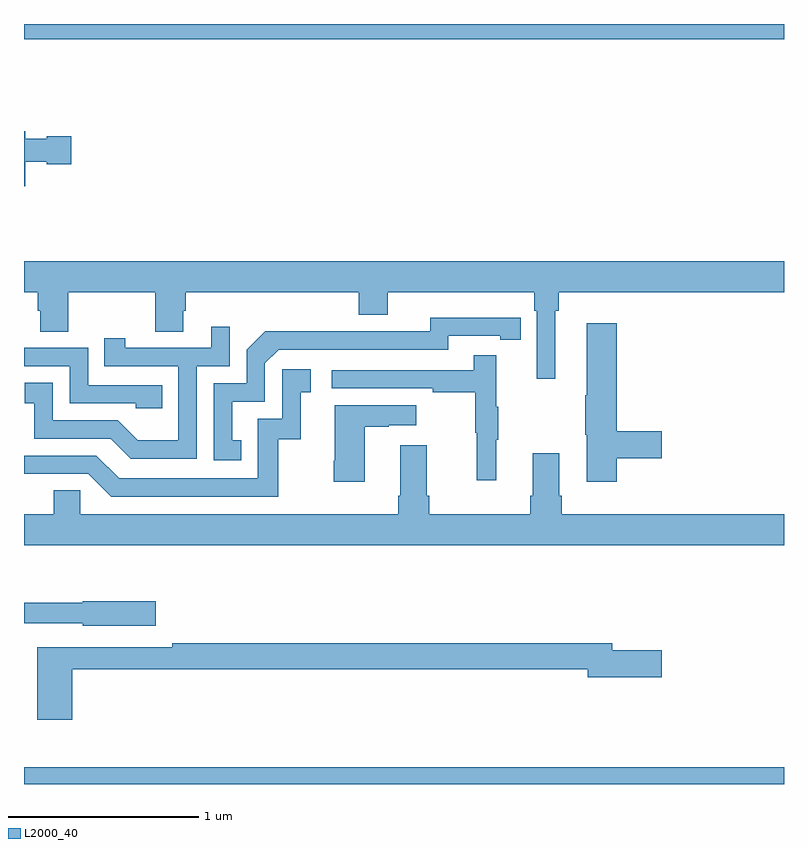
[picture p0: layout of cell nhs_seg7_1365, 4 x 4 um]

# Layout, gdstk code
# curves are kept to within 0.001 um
import gdstk
lib = gdstk.Library(unit=1e-6, precision=1e-09)
def R(c, l, rs):  # rectangles x0, y0, x1, y1
    for r in rs: c.add(gdstk.rectangle(r[:2], r[2:], *l))
def P(c, l, *ps):  # polygons
    for p in ps: c.add(gdstk.Polygon(p, *l))
L2000_40 = (2000, 40)

nhs_seg7_1365 = lib.new_cell('nhs_seg7_1365')
R(nhs_seg7_1365, L2000_40, [(205,1026,209,1026.088), (205,1029.92,209,1030)])
P(nhs_seg7_1365, L2000_40, [(205.006,1029.275),(205.119,1029.275),(205.119,1029.263),(205.249,1029.263),(205.249,1029.41),(205.119,1029.41),(205.119,1029.397),(205.006,1029.397),(205.006,1029.436),(205,1029.436),(205,1029.146),(205.006,1029.146)],
  [(207.796,1028.492),(207.815,1028.492),(207.815,1028.588),(209,1028.588),(209,1028.752),(205,1028.752),(205,1028.588),(205.073,1028.588),(205.073,1028.49),(205.085,1028.49),(205.085,1028.38),(205.233,1028.38),(205.233,1028.588),(205.69,1028.588),(205.69,1028.38),(205.837,1028.38),(205.837,1028.49),(205.85,1028.49),(205.85,1028.588),(206.762,1028.588),(206.762,1028.471),(206.914,1028.471),(206.914,1028.588),(207.686,1028.588),(207.686,1028.492),(207.699,1028.492),(207.699,1028.132),(207.796,1028.132)],
  [(206.144,1027.809),(206.095,1027.809),(206.095,1028.013),(206.268,1028.013),(206.268,1028.214),(206.34,1028.286),(207.234,1028.286),(207.234,1028.358),(207.506,1028.358),(207.506,1028.338),(207.614,1028.338),(207.614,1028.454),(207.138,1028.455),(207.138,1028.382),(206.678,1028.382),(206.678,1028.384),(206.27,1028.384),(206.172,1028.286),(206.172,1028.109),(205.998,1028.109),(205.998,1027.704),(206.144,1027.704)],
  [(208.121,1027.714),(208.357,1027.714),(208.357,1027.856),(208.121,1027.856),(208.121,1028.425),(207.962,1028.425),(207.962,1028.045),(207.955,1028.045),(207.955,1027.839),(207.962,1027.839),(207.962,1027.59),(208.121,1027.59)],
  [(205.908,1028.199),(206.082,1028.199),(206.082,1028.407),(205.985,1028.407),(205.985,1028.295),(205.534,1028.295),(205.534,1028.347),(205.423,1028.347),(205.423,1028.199),(205.812,1028.199),(205.812,1027.81),(205.598,1027.81),(205.494,1027.914),(205.152,1027.914),(205.152,1028.113),(205.005,1028.113),(205.005,1028.003),(205.054,1028.003),(205.054,1027.818),(205.457,1027.818),(205.562,1027.713),(205.908,1027.713)],
  [(205.727,1028.1),(205.338,1028.1),(205.338,1028.295),(205,1028.295),(205,1028.199),(205.242,1028.199),(205.242,1028.004),(205.587,1028.004),(205.587,1027.977),(205.727,1027.977)],
  [(207.485,1027.811),(207.496,1027.811),(207.496,1027.985),(207.485,1027.985),(207.485,1028.257),(207.367,1028.257),(207.367,1028.178),(206.619,1028.178),(206.619,1028.082),(207.151,1028.082),(207.151,1028.062),(207.375,1028.062),(207.375,1027.848),(207.382,1027.848),(207.382,1027.599),(207.485,1027.599)],
  [(206.338,1027.815),(206.456,1027.815),(206.456,1028.061),(206.509,1028.061),(206.509,1028.182),(206.358,1028.182),(206.358,1027.923),(206.229,1027.923),(206.229,1027.608),(205.5,1027.608),(205.38,1027.728),(205,1027.728),(205,1027.632),(205.338,1027.632),(205.458,1027.512),(206.338,1027.512)],
  [(206.794,1027.879),(206.921,1027.879),(206.921,1027.889),(207.064,1027.889),(207.064,1027.993),(206.636,1027.993),(206.636,1027.702),(206.629,1027.702),(206.629,1027.59),(206.794,1027.59)],
  [(209,1027.42),(207.83,1027.42),(207.83,1027.516),(207.817,1027.516),(207.817,1027.741),(207.677,1027.741),(207.677,1027.516),(207.665,1027.516),(207.665,1027.42),(207.134,1027.42),(207.134,1027.516),(207.121,1027.516),(207.121,1027.783),(206.981,1027.783),(206.981,1027.516),(206.969,1027.516),(206.969,1027.42),(205.296,1027.42),(205.296,1027.547),(205.157,1027.547),(205.157,1027.42),(205,1027.42),(205,1027.256),(209,1027.256)],
  [(205.693,1026.963),(205.308,1026.963),(205.308,1026.955),(205,1026.955),(205,1026.846),(205.308,1026.846),(205.308,1026.833),(205.693,1026.833)],
  [(205.253,1026.604),(207.968,1026.604),(207.968,1026.562),(208.357,1026.562),(208.357,1026.704),(208.096,1026.704),(208.096,1026.74),(205.78,1026.74),(205.78,1026.72),(205.07,1026.72),(205.07,1026.339),(205.253,1026.339)])

lib.write_gds('nhs_seg7_1365.gds')
